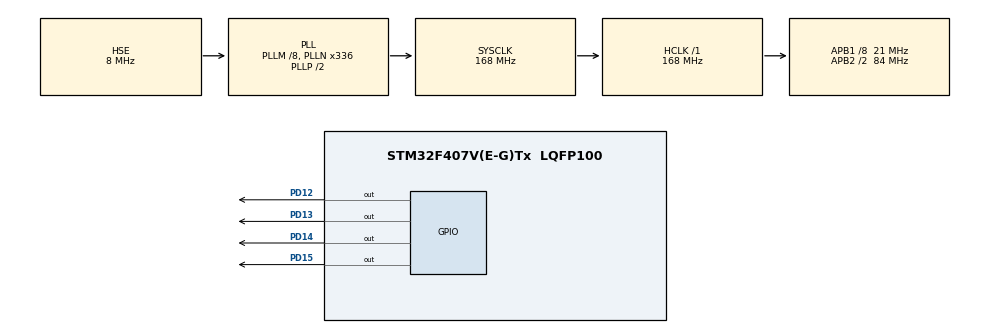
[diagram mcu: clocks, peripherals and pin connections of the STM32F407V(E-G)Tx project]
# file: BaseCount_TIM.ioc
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Mcu.Family=STM32F4
Mcu.Name=STM32F407V(E-G)Tx
Mcu.Package=LQFP100
NVIC.PriorityGroup=NVIC_PRIORITYGROUP_0
NVIC.TIM6_DAC_IRQn=true\:0\:0\:false\:false\:true\:true
PD12.Signal=GPIO_Output
PD13.Signal=GPIO_Output
PD14.Signal=GPIO_Output
PD15.Signal=GPIO_Output
PH0-OSC_IN.Mode=HSE-External-Clock-Source
PH0-OSC_IN.Signal=RCC_OSC_IN
PH1-OSC_OUT.Mode=HSE-External-Clock-Source
PH1-OSC_OUT.Signal=RCC_OSC_OUT
ProjectManager.HeapSize=0x200
ProjectManager.StackSize=0x400
ProjectManager.TargetToolchain=MDK-ARM V5
RCC.48MHZClocksFreq_Value=48000000
RCC.AHBFreq_Value=168000000
RCC.APB1CLKDivider=RCC_HCLK_DIV8
RCC.APB1Freq_Value=21000000
RCC.APB1TimFreq_Value=42000000
RCC.APB2CLKDivider=RCC_HCLK_DIV2
RCC.APB2Freq_Value=84000000
RCC.APB2TimFreq_Value=168000000
RCC.CortexFreq_Value=168000000
RCC.HCLKFreq_Value=168000000
RCC.HSE_VALUE=8000000
RCC.HSI_VALUE=16000000
RCC.PLLM=8
RCC.PLLN=336
RCC.PLLQ=7
RCC.PLLSourceVirtual=RCC_PLLSOURCE_HSE
RCC.SYSCLKFreq_VALUE=168000000
RCC.SYSCLKSource=RCC_SYSCLKSOURCE_PLLCLK
RCC.VCOOutputFreq_Value=336000000
TIM6.Period=500
TIM6.Prescaler=20999
VP_TIM6_VS_ClockSourceINT.Mode=Enable_Timer
board=STM32F4DISCOVERY

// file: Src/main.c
/**
  ******************************************************************************
  * @file           : main.c
  * @brief          : Main program body
  ******************************************************************************
  ** This notice applies to any and all portions of this file
  * that are not between comment pairs USER CODE BEGIN and
  * USER CODE END. Other portions of this file, whether
  * inserted by the user or by software development tools
  * are owned by their respective copyright owners.
  *
  * COPYRIGHT(c) 2018 STMicroelectronics
  *
  * Redistribution and use in source and binary forms, with or without modification,
  * are permitted provided that the following conditions are met:
  *   1. Redistributions of source code must retain the above copyright notice,
  *      this list of conditions and the following disclaimer.
  *   2. Redistributions in binary form must reproduce the above copyright notice,
  *      this list of conditions and the following disclaimer in the documentation
  *      and/or other materials provided with the distribution.
  *   3. Neither the name of STMicroelectronics nor the names of its contributors
  *      may be used to endorse or promote products derived from this software
  *      without specific prior written permission.
  *
  * THIS SOFTWARE IS PROVIDED BY THE COPYRIGHT HOLDERS AND CONTRIBUTORS "AS IS"
  * AND ANY EXPRESS OR IMPLIED WARRANTIES, INCLUDING, BUT NOT LIMITED TO, THE
  * IMPLIED WARRANTIES OF MERCHANTABILITY AND FITNESS FOR A PARTICULAR PURPOSE ARE
  * DISCLAIMED. IN NO EVENT SHALL THE COPYRIGHT HOLDER OR CONTRIBUTORS BE LIABLE
  * FOR ANY DIRECT, INDIRECT, INCIDENTAL, SPECIAL, EXEMPLARY, OR CONSEQUENTIAL
  * DAMAGES (INCLUDING, BUT NOT LIMITED TO, PROCUREMENT OF SUBSTITUTE GOODS OR
  * SERVICES; LOSS OF USE, DATA, OR PROFITS; OR BUSINESS INTERRUPTION) HOWEVER
  * CAUSED AND ON ANY THEORY OF LIABILITY, WHETHER IN CONTRACT, STRICT LIABILITY,
  * OR TORT (INCLUDING NEGLIGENCE OR OTHERWISE) ARISING IN ANY WAY OUT OF THE USE
  * OF THIS SOFTWARE, EVEN IF ADVISED OF THE POSSIBILITY OF SUCH DAMAGE.
  *
  ******************************************************************************
  */
#include "main.h"
#include "stm32f4xx_hal.h"

TIM_HandleTypeDef htim6;

/* USER CODE BEGIN PV */
/* Private variables ---------------------------------------------------------*/
uint8_t count_Led=0;
/* USER CODE END PV */

void SystemClock_Config(void);
static void MX_GPIO_Init(void);
static void MX_TIM6_Init(void);

/* USER CODE BEGIN PFP */
/* Private function prototypes -----------------------------------------------*/

/* USER CODE END PFP */

int main(void)
{

  /* MCU Configuration----------------------------------------------------------*/

  /* Reset of all peripherals, Initializes the Flash interface and the Systick. */
  HAL_Init();

  /* Configure the system clock */
  SystemClock_Config();

  /* Initialize all configured peripherals */
  MX_GPIO_Init();
  MX_TIM6_Init();
  /* USER CODE BEGIN 2 */
	HAL_TIM_Base_Start_IT(&htim6);
  /* USER CODE END 2 */

  /* Infinite loop */
  while (1)
  {

  }

}

void SystemClock_Config(void)
{

  RCC_OscInitTypeDef RCC_OscInitStruct;
  RCC_ClkInitTypeDef RCC_ClkInitStruct;

    /**Configure the main internal regulator output voltage
    */
  __HAL_RCC_PWR_CLK_ENABLE();

  __HAL_PWR_VOLTAGESCALING_CONFIG(PWR_REGULATOR_VOLTAGE_SCALE1);

    /**Initializes the CPU, AHB and APB busses clocks
    */
  RCC_OscInitStruct.OscillatorType = RCC_OSCILLATORTYPE_HSE;
  RCC_OscInitStruct.HSEState = RCC_HSE_BYPASS;
  RCC_OscInitStruct.PLL.PLLState = RCC_PLL_ON;
  RCC_OscInitStruct.PLL.PLLSource = RCC_PLLSOURCE_HSE;
  RCC_OscInitStruct.PLL.PLLM = 8;
  RCC_OscInitStruct.PLL.PLLN = 336;
  RCC_OscInitStruct.PLL.PLLP = RCC_PLLP_DIV2;
  RCC_OscInitStruct.PLL.PLLQ = 7;
  if (HAL_RCC_OscConfig(&RCC_OscInitStruct) != HAL_OK)
  {
    _Error_Handler(__FILE__, __LINE__);
  }

    /**Initializes the CPU, AHB and APB busses clocks
    */
  RCC_ClkInitStruct.ClockType = RCC_CLOCKTYPE_HCLK|RCC_CLOCKTYPE_SYSCLK
                              |RCC_CLOCKTYPE_PCLK1|RCC_CLOCKTYPE_PCLK2;
  RCC_ClkInitStruct.SYSCLKSource = RCC_SYSCLKSOURCE_PLLCLK;
  RCC_ClkInitStruct.AHBCLKDivider = RCC_SYSCLK_DIV1;
  RCC_ClkInitStruct.APB1CLKDivider = RCC_HCLK_DIV8;
  RCC_ClkInitStruct.APB2CLKDivider = RCC_HCLK_DIV2;

  if (HAL_RCC_ClockConfig(&RCC_ClkInitStruct, FLASH_LATENCY_5) != HAL_OK)
  {
    _Error_Handler(__FILE__, __LINE__);
  }

    /**Configure the Systick interrupt time
    */
  HAL_SYSTICK_Config(HAL_RCC_GetHCLKFreq()/1000);

    /**Configure the Systick
    */
  HAL_SYSTICK_CLKSourceConfig(SYSTICK_CLKSOURCE_HCLK);

  /* SysTick_IRQn interrupt configuration */
  HAL_NVIC_SetPriority(SysTick_IRQn, 0, 0);
}

/* TIM6 init function */
static void MX_TIM6_Init(void)
{

  TIM_MasterConfigTypeDef sMasterConfig;

  htim6.Instance = TIM6;
  htim6.Init.Prescaler = 20999;
  htim6.Init.CounterMode = TIM_COUNTERMODE_UP;
  htim6.Init.Period = 500;
  if (HAL_TIM_Base_Init(&htim6) != HAL_OK)
  {
    _Error_Handler(__FILE__, __LINE__);
  }

  sMasterConfig.MasterOutputTrigger = TIM_TRGO_RESET;
  sMasterConfig.MasterSlaveMode = TIM_MASTERSLAVEMODE_DISABLE;
  if (HAL_TIMEx_MasterConfigSynchronization(&htim6, &sMasterConfig) != HAL_OK)
  {
    _Error_Handler(__FILE__, __LINE__);
  }

}

/** Configure pins as
        * Analog
        * Input
        * Output
        * EVENT_OUT
        * EXTI
*/
static void MX_GPIO_Init(void)
{

  GPIO_InitTypeDef GPIO_InitStruct;

  /* GPIO Ports Clock Enable */
  __HAL_RCC_GPIOH_CLK_ENABLE();
  __HAL_RCC_GPIOD_CLK_ENABLE();

  /*Configure GPIO pin Output Level */
  HAL_GPIO_WritePin(GPIOD, GPIO_PIN_12|GPIO_PIN_13|GPIO_PIN_14|GPIO_PIN_15, GPIO_PIN_RESET);

  /*Configure GPIO pins : PD12 PD13 PD14 PD15 */
  GPIO_InitStruct.Pin = GPIO_PIN_12|GPIO_PIN_13|GPIO_PIN_14|GPIO_PIN_15;
  GPIO_InitStruct.Mode = GPIO_MODE_OUTPUT_PP;
  GPIO_InitStruct.Pull = GPIO_NOPULL;
  GPIO_InitStruct.Speed = GPIO_SPEED_FREQ_LOW;
  HAL_GPIO_Init(GPIOD, &GPIO_InitStruct);

}

/* USER CODE BEGIN 4 */
/*---------------------------Обработчик события---------------*/
void HAL_TIM_PeriodElapsedCallback(TIM_HandleTypeDef *htim6)
{
	switch(count_Led)
	{
		case 0:
		{
			HAL_GPIO_WritePin(GPIOD,GPIO_PIN_15,GPIO_PIN_SET);
			HAL_GPIO_WritePin(GPIOD,GPIO_PIN_14,GPIO_PIN_RESET);
			HAL_GPIO_WritePin(GPIOD,GPIO_PIN_13,GPIO_PIN_RESET);
			HAL_GPIO_WritePin(GPIOD,GPIO_PIN_12,GPIO_PIN_RESET);
			break;
		}
		case 1:
		{
			HAL_GPIO_WritePin(GPIOD,GPIO_PIN_14,GPIO_PIN_SET);
			HAL_GPIO_WritePin(GPIOD,GPIO_PIN_15,GPIO_PIN_RESET);
			HAL_GPIO_WritePin(GPIOD,GPIO_PIN_13,GPIO_PIN_RESET);
			HAL_GPIO_WritePin(GPIOD,GPIO_PIN_12,GPIO_PIN_RESET);
			break;
		}
		case 2:
		{
			HAL_GPIO_WritePin(GPIOD,GPIO_PIN_13,GPIO_PIN_SET);
			HAL_GPIO_WritePin(GPIOD,GPIO_PIN_15,GPIO_PIN_RESET);
			HAL_GPIO_WritePin(GPIOD,GPIO_PIN_14,GPIO_PIN_RESET);
			HAL_GPIO_WritePin(GPIOD,GPIO_PIN_12,GPIO_PIN_RESET);
			break;
		}
		case 3:
		{
			HAL_GPIO_WritePin(GPIOD,GPIO_PIN_12,GPIO_PIN_SET);
			HAL_GPIO_WritePin(GPIOD,GPIO_PIN_15,GPIO_PIN_RESET);
			HAL_GPIO_WritePin(GPIOD,GPIO_PIN_13,GPIO_PIN_RESET);
			HAL_GPIO_WritePin(GPIOD,GPIO_PIN_14,GPIO_PIN_RESET);
			break;
		}

	}
	count_Led++;
	if(count_Led>3)
	{
		count_Led=0;
	}

}
/* USER CODE END 4 */

void _Error_Handler(char *file, int line)
{
  while(1)
  {
  }
}

/************************ (C) COPYRIGHT STMicroelectronics *****END OF FILE****/
